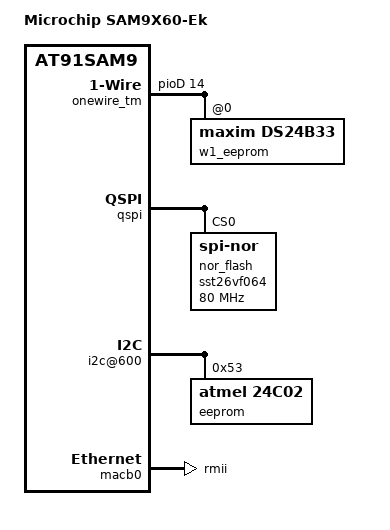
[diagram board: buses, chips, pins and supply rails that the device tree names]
// SPDX-License-Identifier: (GPL-2.0+ OR MIT)
/*
 * sam9x60ek.dts - Device Tree file for SAM9X60 EK board
 *
 * Copyright (C) 2018 Microchip Technology Inc. and its subsidiaries
 *
 * Author: Sandeep Sheriker M <Sandeepsheriker.mallikarjun@microchip.com>
 */
/dts-v1/;
#include <dt-bindings/mfd/atmel-flexcom.h>
#include "sam9x60.dtsi"

/ {
	model = "Microchip SAM9X60-Ek";
	compatible = "microchip,sam9x60ek", "microchip,sam9x60", "atmel,at91sam9";

	chosen {
		stdout-path = &dbgu;
		i2c0 = &flx0;
	};

	clocks {
		slow_xtal: slow_xtal {
			clock-frequency = <32768>;
		};

		main_xtal: main_xtal {
			clock-frequency = <24000000>;
		};
	};

	onewire_tm: onewire {
		gpios = <&pioD 14 GPIO_ACTIVE_HIGH>;
		pinctrl-names = "default";
		pinctrl-0 = <&pinctrl_onewire_tm_default>;
		status = "okay";

		w1_eeprom: w1_eeprom@0 {
			compatible = "maxim,ds24b33";
			status = "okay";
		};
	};

	ahb {
		apb {
			qspi: spi@f0014000 {
				pinctrl-names = "default";
				pinctrl-0 = <&pinctrl_qspi>;
				status = "okay";

				nor_flash: sst26vf064@0 {
					compatible = "jedec,spi-nor";
					reg = <0>;
					spi-max-frequency = <80000000>;
					spi-rx-bus-width = <4>;
					spi-tx-bus-width = <4>;
				};
			};

			flx0: flexcom@f801c600 {
				atmel,flexcom-mode = <ATMEL_FLEXCOM_MODE_TWI>;
				status = "okay";

				i2c@600 {
					compatible = "atmel,sama5d2-i2c";
					reg = <0x600 0x200>;
					pinctrl-names = "default";
					pinctrl-0 = <&pinctrl_flx0>;
					#address-cells = <1>;
					#size-cells = <0>;
					clocks = <&pmc PMC_TYPE_PERIPHERAL 5>;
					status = "okay";

					eeprom@53 {
						compatible = "atmel,24c02"; /* EEPROM is 2Kbits microchip 24aa025e48, an at24c02 with page size of 16 */
						reg = <0x53>;
						pagesize = <16>;
					};
				};
			};

			pinctrl {
					pinctrl_qspi: qspi {
						atmel,pins =
							<AT91_PIOB 19 AT91_PERIPH_A AT91_PINCTRL_NONE
							 AT91_PIOB 20 AT91_PERIPH_A AT91_PINCTRL_NONE
							 AT91_PIOB 21 AT91_PERIPH_A AT91_PINCTRL_PULL_UP
							 AT91_PIOB 22 AT91_PERIPH_A AT91_PINCTRL_PULL_UP
							 AT91_PIOB 23 AT91_PERIPH_A AT91_PINCTRL_PULL_UP
							 AT91_PIOB 24 AT91_PERIPH_A AT91_PINCTRL_PULL_UP>;
					};

					pinctrl_flx0: flx0_default {
						atmel,pins =
							<AT91_PIOA 0 AT91_PERIPH_A AT91_PINCTRL_NONE
							 AT91_PIOA 1 AT91_PERIPH_A AT91_PINCTRL_NONE>;
					};

					pinctrl_onewire_tm_default: onewire_tm_default {
						atmel,pins =
							<AT91_PIOD 14 AT91_PERIPH_GPIO AT91_PINCTRL_PULL_UP>;
					};

			};
		};
	};
};

&macb0 {
	phy-mode = "rmii";
	status = "okay";
};
